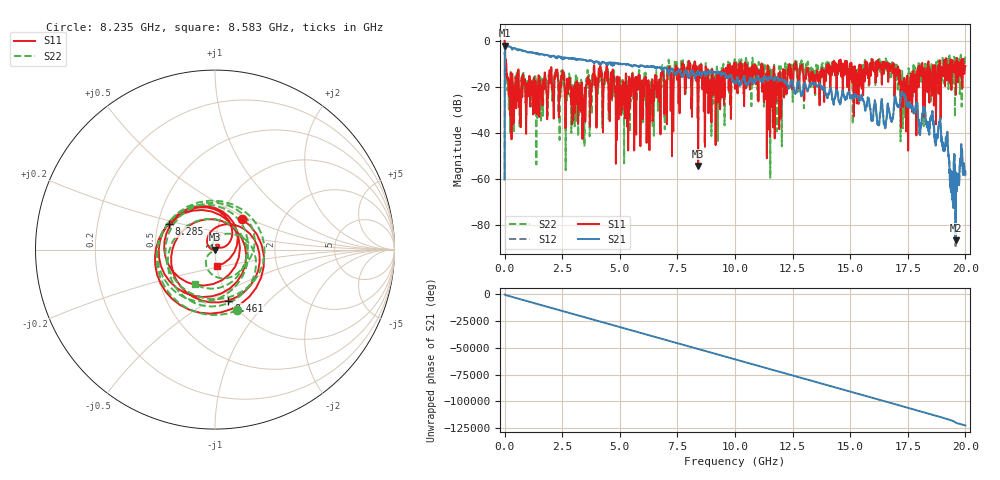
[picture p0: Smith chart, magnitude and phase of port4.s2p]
! MS46122B
! 2250307/22442219
! 2/18/2026 2:16:26 PM
! C:\USERS\SPARKY\DOCUMENTS\VNA_DATA\FEB18_2026\7K2\PORT4.S2P
! CHANNEL.1
! TR.MEASUREMENT
! RAW.DATA
# GHZ S RI R 50.0
! FREQ.GHZ  S11RE  S11IM  S21RE  S21IM  S12RE  S12IM  S22RE  S22IM
!; PortSelection: Port_12
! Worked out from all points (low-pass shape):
!   10001 points, 1 MHz to 20 GHz, reference 50 ohm
!   highest |S21| = -1.86 dB at 33 MHz (marker M1); lowest = -86.8 dB at 19.57 GHz (marker M2)
!   |S21| within 3 dB of the highest: 19.99 MHz to 1.17 GHz (1.15 GHz wide, 193 % of centre); 1.195078 GHz to 1.200469 GHz (5.391 MHz wide, 0.45 % of centre)
!   lowest |S11| = -54.3 dB at 8.403 GHz (marker M3), VSWR 1.00, Z = 49.8 - j0.118 ohm
!   |S11| at or under -10 dB: 75.46 MHz to 7.704 GHz (7.629 GHz wide, 196 % of centre); 8.281 GHz to 9.951 GHz (1.67 GHz wide, 18.3 % of centre); 12.65 GHz to 14.03 GHz (1.383 GHz wide, 10.4 % of centre) (the widest 3 of 53)
!   |S22| runs from -59.4 to -0.1 dB; largest |S21 - S12| = 0.064
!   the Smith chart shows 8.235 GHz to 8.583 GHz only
!   S11 on the Smith chart (normalised r, x): 8.235 GHz: 1.26, +0.45; 8.285 GHz: 0.57, +0.18; 8.461 GHz: 0.98, -0.61; 8.583 GHz: 1.00, -0.19
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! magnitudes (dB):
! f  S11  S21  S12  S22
! 1 MHz  0.4  -60.2  -60.2  -0.1
! 33 MHz  -8.9  -1.9  -2.2  -10.9
! 125 MHz  -15.8  -2.0  -2.0  -21.1
! 1.327 GHz  -20.1  -5.0  -5.0  -17.9
! 2.505 GHz  -14.0  -7.0  -7.0  -15.5
! 3.335 GHz  -19.4  -8.0  -8.0  -19.1
! 4.129 GHz  -14.4  -9.3  -9.3  -16.2
! 4.867 GHz  -28.8  -9.5  -9.5  -20.4
! 6.669 GHz  -18.0  -11.4  -11.5  -18.0
! 8.235 GHz  -12.9  -14.9  -14.9  -8.9
! 8.285 GHz  -10.6  -14.4  -15.1  -11.2
! 8.403 GHz  -54.3  -12.9  -12.9  -33.8
! 8.461 GHz  -10.6  -14.8  -14.5  -10.0
! 8.583 GHz  -20.7  -14.1  -13.9  -13.0
! 9.265 GHz  -18.4  -13.3  -13.2  -26.9
! 10 GHz  -20.2  -18.2  -17.5  -8.9
! 13.33 GHz  -16.6  -18.3  -18.5  -13.8
! 16.67 GHz  -12.3  -29.4  -29.4  -11.3
! 17.36 GHz  -18.7  -23.1  -23.2  -21.2
! 18.55 GHz  -21.9  -31.9  -32.0  -11.9
! 19.57 GHz  -11.0  -86.8  -89.2  -6.7
! 20 GHz  -10.7  -56.6  -57.3  -6.1
